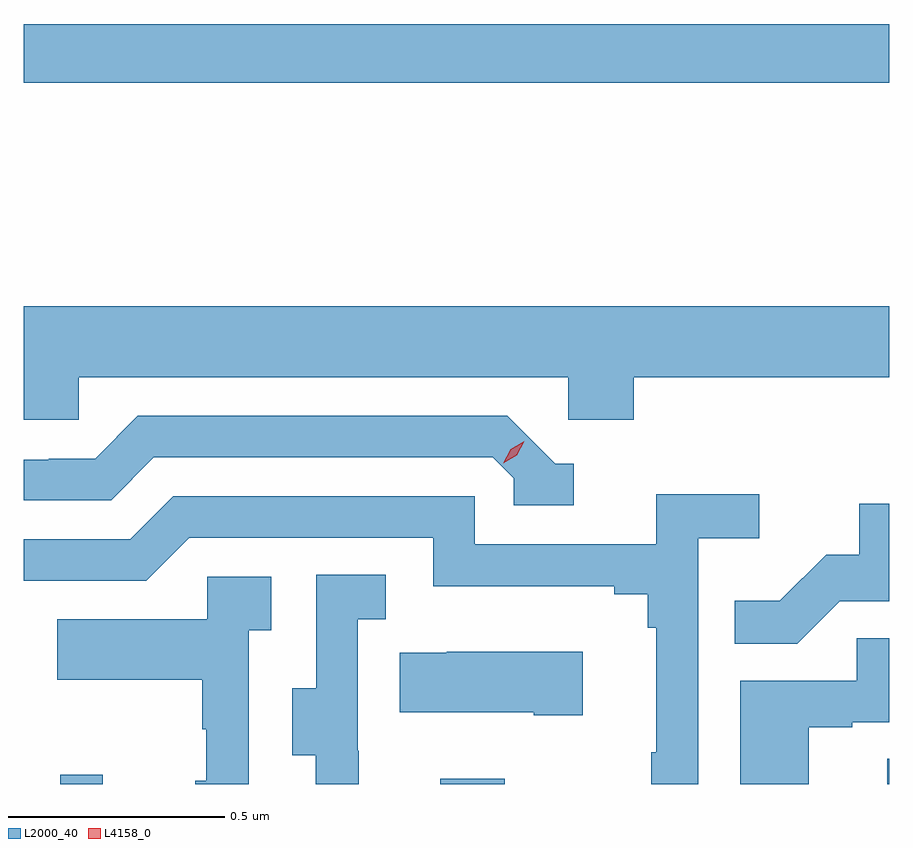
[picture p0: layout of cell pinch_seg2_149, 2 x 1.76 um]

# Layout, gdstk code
import gdstk
lib = gdstk.Library(unit=1e-6, precision=1e-09)
def R(c, l, rs):  # rectangles x0, y0, x1, y1
    for r in rs: c.add(gdstk.rectangle(r[:2], r[2:], *l))
def P(c, l, *ps):  # polygons
    for p in ps: c.add(gdstk.Polygon(p, *l))
L2000_40 = (2000, 40)
L4158_0 = (4158, 0)

pinch_seg2_149 = lib.new_cell('pinch_seg2_149')
R(pinch_seg2_149, L2000_40, [(1121.481,636.04,1121.579,636.061), (1122.359,636.04,1122.507,636.052), (1123.391,636.04,1123.396,636.098), (1121.396,637.66,1123.396,637.796)])
P(pinch_seg2_149, L2000_40, [(1121.523,636.98),(1122.654,636.98),(1122.654,636.882),(1122.806,636.882),(1122.806,636.98),(1123.396,636.98),(1123.396,637.144),(1121.396,637.144),(1121.396,636.882),(1121.523,636.882)],
  [(1122.667,636.78),(1122.624,636.78),(1122.513,636.891),(1121.66,636.891),(1121.561,636.792),(1121.454,636.792),(1121.454,636.789),(1121.396,636.789),(1121.396,636.696),(1121.598,636.696),(1121.697,636.795),(1122.48,636.795),(1122.528,636.747),(1122.528,636.684),(1122.667,636.684)],
  [(1122.954,636.608),(1123.096,636.608),(1123.096,636.71),(1122.857,636.71),(1122.857,636.594),(1122.438,636.594),(1122.438,636.705),(1121.741,636.705),(1121.642,636.606),(1121.396,636.606),(1121.396,636.51),(1121.679,636.51),(1121.778,636.609),(1122.342,636.609),(1122.342,636.497),(1122.761,636.497),(1122.761,636.478),(1122.838,636.478),(1122.838,636.401),(1122.857,636.401),(1122.857,636.113),(1122.846,636.113),(1122.846,636.04),(1122.954,636.04)],
  [(1123.281,636.462),(1123.396,636.462),(1123.396,636.687),(1123.327,636.687),(1123.327,636.57),(1123.25,636.57),(1123.143,636.463),(1123.039,636.463),(1123.039,636.364),(1123.183,636.364)],
  [(1122.17,636.117),(1122.168,636.117),(1122.168,636.421),(1122.232,636.421),(1122.232,636.524),(1122.072,636.524),(1122.072,636.261),(1122.017,636.261),(1122.017,636.106),(1122.071,636.106),(1122.071,636.04),(1122.17,636.04)],
  [(1121.916,636.395),(1121.968,636.395),(1121.968,636.519),(1121.82,636.519),(1121.82,636.421),(1121.473,636.421),(1121.473,636.281),(1121.808,636.281),(1121.808,636.167),(1121.818,636.167),(1121.818,636.048),(1121.792,636.048),(1121.792,636.04),(1121.916,636.04)],
  [(1123.21,636.171),(1123.31,636.171),(1123.31,636.183),(1123.396,636.183),(1123.396,636.377),(1123.321,636.377),(1123.321,636.279),(1123.052,636.279),(1123.052,636.04),(1123.21,636.04)],
  [(1122.688,636.346),(1122.373,636.346),(1122.373,636.343),(1122.265,636.343),(1122.265,636.206),(1122.575,636.206),(1122.575,636.199),(1122.688,636.199)])
P(pinch_seg2_149, L4158_0, [(1122.504,636.781),(1122.504,636.781),(1122.521,636.813),(1122.552,636.832),(1122.552,636.832),(1122.552,636.832),(1122.535,636.8),(1122.504,636.781)])

lib.write_gds('pinch_seg2_149.gds')
